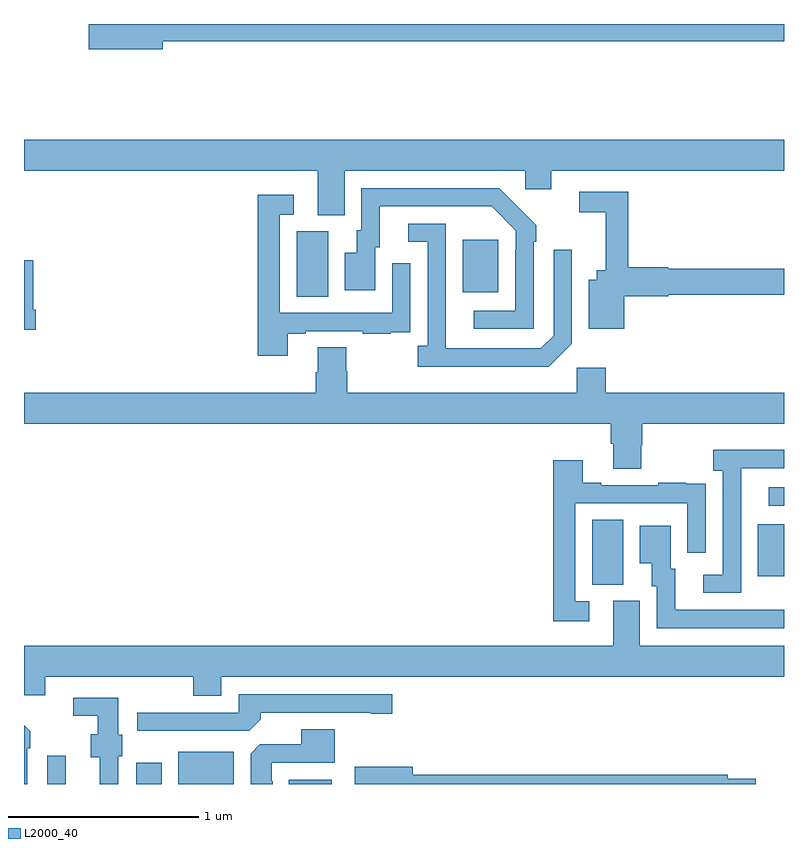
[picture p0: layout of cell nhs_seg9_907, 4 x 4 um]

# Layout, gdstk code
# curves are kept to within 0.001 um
import gdstk
lib = gdstk.Library(unit=1e-6, precision=1e-09)
def R(c, l, rs):  # rectangles x0, y0, x1, y1
    for r in rs: c.add(gdstk.rectangle(r[:2], r[2:], *l))
def P(c, l, *ps):  # polygons
    for p in ps: c.add(gdstk.Polygon(p, *l))
L2000_40 = (2000, 40)

nhs_seg9_907 = lib.new_cell('nhs_seg9_907')
R(nhs_seg9_907, L2000_40, [(159.123,1218.5,159.219,1218.649), (159.59,1218.5,159.724,1218.613), (159.812,1218.5,160.105,1218.67), (160.394,1218.5,160.621,1218.523), (161.99,1219.549,162.154,1219.892), (162.863,1219.593,163,1219.867), (162.921,1219.965,163,1220.061), (160.436,1221.064,160.6,1221.408), (161.309,1221.089,161.497,1221.364)])
P(nhs_seg9_907, L2000_40, [(159.73,1222.408),(163,1222.408),(163,1222.5),(159.342,1222.5),(159.342,1222.366),(159.73,1222.366)],
  [(160.687,1221.728),(161.637,1221.728),(161.637,1221.63),(161.776,1221.63),(161.776,1221.728),(163,1221.728),(163,1221.892),(159,1221.892),(159,1221.728),(160.547,1221.728),(160.547,1221.493),(160.687,1221.493)],
  [(161.682,1221.353),(161.697,1221.353),(161.697,1221.441),(161.5,1221.636),(160.776,1221.636),(160.776,1221.414),(160.751,1221.414),(160.751,1221.295),(160.688,1221.295),(160.688,1221.099),(160.849,1221.099),(160.849,1221.324),(160.873,1221.324),(160.873,1221.54),(161.461,1221.54),(161.589,1221.411),(161.589,1221.311),(161.586,1221.311),(161.586,1220.991),(161.367,1220.991),(161.367,1220.895),(161.682,1220.895)],
  [(162.16,1221.068),(162.39,1221.068),(162.39,1221.076),(163,1221.076),(163,1221.212),(162.39,1221.212),(162.39,1221.22),(162.179,1221.22),(162.179,1221.618),(161.922,1221.618),(161.922,1221.51),(162.062,1221.51),(162.062,1221.205),(162.014,1221.205),(162.014,1221.154),(161.972,1221.154),(161.972,1220.897),(162.16,1220.897)],
  [(160.387,1220.871),(160.483,1220.871),(160.483,1220.883),(160.783,1220.883),(160.783,1220.871),(160.931,1220.871),(160.931,1220.877),(161.033,1220.877),(161.033,1220.986),(161.034,1220.986),(161.034,1221.241),(160.938,1221.241),(160.938,1220.979),(160.347,1220.979),(160.347,1221.495),(160.42,1221.495),(160.42,1221.601),(160.231,1221.601),(160.231,1220.754),(160.387,1220.754)],
  [(161.883,1220.817),(161.883,1221.313),(161.787,1221.313),(161.787,1220.859),(161.721,1220.793),(161.221,1220.793),(161.22,1221.45),(161.022,1221.45),(161.022,1221.354),(161.124,1221.354),(161.124,1220.806),(161.073,1220.806),(161.073,1220.696),(161.762,1220.696)],
  [(159.062,1220.995),(159.049,1220.995),(159.049,1221.256),(159,1221.256),(159,1220.891),(159.062,1220.891)],
  [(162.249,1220.283),(162.254,1220.283),(162.254,1220.396),(163,1220.396),(163,1220.56),(162.062,1220.56),(162.062,1220.692),(161.91,1220.692),(161.91,1220.56),(160.7,1220.56),(160.7,1220.673),(160.695,1220.673),(160.695,1220.798),(160.547,1220.798),(160.547,1220.666),(160.535,1220.666),(160.535,1220.56),(159,1220.56),(159,1220.396),(162.089,1220.396),(162.089,1220.29),(162.101,1220.29),(162.101,1220.158),(162.249,1220.158)],
  [(162.774,1219.963),(162.775,1219.963),(162.775,1220.163),(163,1220.163),(163,1220.26),(162.627,1220.26),(162.627,1220.15),(162.678,1220.15),(162.678,1219.602),(162.576,1219.602),(162.576,1219.506),(162.774,1219.506)],
  [(161.974,1219.461),(161.901,1219.461),(161.901,1219.977),(162.492,1219.977),(162.492,1219.716),(162.588,1219.716),(162.588,1219.97),(162.587,1219.97),(162.587,1220.079),(162.485,1220.079),(162.485,1220.086),(162.337,1220.086),(162.337,1220.073),(162.037,1220.073),(162.037,1220.086),(161.941,1220.086),(161.941,1220.203),(161.785,1220.203),(161.785,1219.356),(161.974,1219.356)],
  [(163,1219.417),(162.911,1219.417),(162.911,1219.416),(162.427,1219.416),(162.427,1219.632),(162.403,1219.632),(162.403,1219.858),(162.242,1219.858),(162.242,1219.661),(162.305,1219.661),(162.305,1219.542),(162.33,1219.542),(162.33,1219.32),(163,1219.32)],
  [(160.039,1219.064),(163,1219.064),(163,1219.228),(162.241,1219.228),(162.241,1219.464),(162.101,1219.464),(162.101,1219.228),(159,1219.228),(159,1218.966),(159.112,1218.966),(159.112,1219.064),(159.892,1219.064),(159.892,1218.965),(160.039,1218.965)],
  [(160.247,1218.842),(160.247,1218.876),(160.826,1218.876),(160.826,1218.871),(160.939,1218.871),(160.939,1218.972),(160.131,1218.972),(160.131,1218.876),(159.597,1218.876),(159.597,1218.78),(160.185,1218.78)],
  [(159.495,1218.645),(159.516,1218.645),(159.516,1218.759),(159.495,1218.759),(159.495,1218.954),(159.258,1218.954),(159.258,1218.858),(159.387,1218.858),(159.387,1218.763),(159.35,1218.763),(159.35,1218.641),(159.398,1218.641),(159.398,1218.5),(159.495,1218.5)],
  [(159.018,1218.689),(159.033,1218.689),(159.033,1218.777),(159,1218.81),(159,1218.5),(159.018,1218.5)],
  [(160.309,1218.515),(160.305,1218.515),(160.305,1218.612),(160.636,1218.612),(160.636,1218.787),(160.46,1218.787),(160.46,1218.708),(160.242,1218.708),(160.193,1218.659),(160.193,1218.5),(160.309,1218.5)],
  [(162.851,1218.528),(162.704,1218.528),(162.704,1218.548),(161.047,1218.548),(161.047,1218.592),(160.74,1218.592),(160.74,1218.5),(162.851,1218.5)])

lib.write_gds('nhs_seg9_907.gds')
